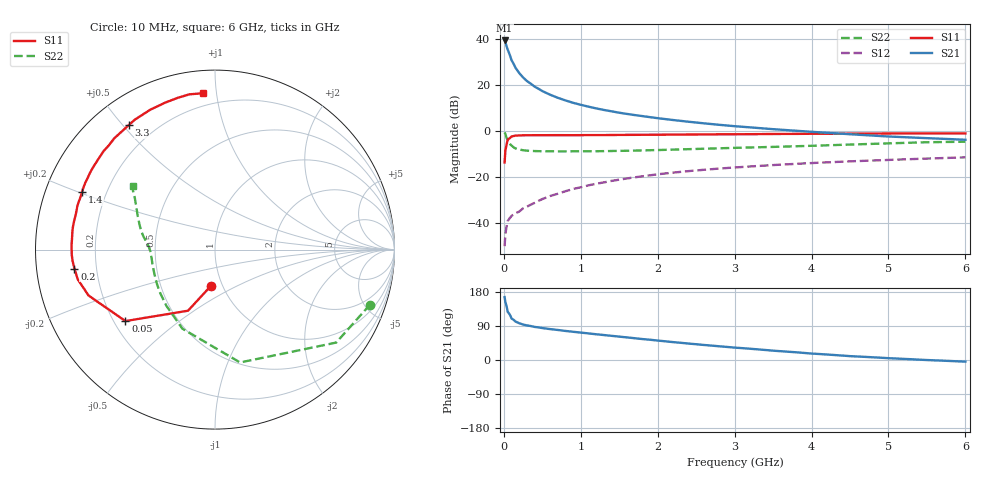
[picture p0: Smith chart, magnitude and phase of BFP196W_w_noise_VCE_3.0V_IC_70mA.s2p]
! Infineon Technologies  Discrete & RF Semiconductors
! BFP196W
! VCE =  3.0 V,  IC =  70 mA
! Common Emitter S-Parameters:  Jan 2017
# GHz  S  MA  R  50
!  f  S11  S21  S12  S22
! GHz  MAG  ANG  MAG  ANG  MAG  ANG  MAG  ANG
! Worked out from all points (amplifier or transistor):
!   77 points, 10 MHz to 6 GHz, reference 50 ohm
!   highest |S21| = 39.2 dB at 10 MHz (marker M1)
!   |S21| within 3 dB of that: start of sweep to 40.21 MHz
!   unconditionally stable (mu >= 1): 549.1 MHz to 3.318 GHz
!   at 130 MHz: K = 0.54, MSG = 32.6 dB, |S12| = -36.3 dB
!   at 2.2 GHz: K = 1.03, MAG = 10.3 dB, |S12| = -18.2 dB
!   at 6 GHz: K = 0.96, MSG = 3.8 dB, |S12| = -11.6 dB
!   lowest NFmin = 1.58 dB at 450 MHz
!   S11 on the Smith chart (normalised r, x): 10 MHz: 0.88, -0.37; 50 MHz: 0.25, -0.33; 200 MHz: 0.12, -0.07; 1.4 GHz: 0.11, +0.20; 3.3 GHz: 0.11, +0.52; 6 GHz: 0.12, +0.92
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0.01  0.2047 -96.7  91.54 166.1  0.0031 82.4  0.917 -19.5
0.02  0.3719 -113.8  83.94 152.7  0.0057 69.2  0.851 -37.5
0.05  0.6385 -141.4  57.91 127.0  0.0109 50.0  0.6441 -77.5
0.1  0.7498 -160.1  34.09 109.4  0.0141 44.0  0.4765 -112.4
0.15  0.7825 -167.8  23.61 101.7  0.0161 46.4  0.4143 -130.8
0.2  0.7902 -172.3  17.9 97.0  0.0175 49.7  0.3902 -141.3
0.25  0.7962 -175.5  14.39 93.6  0.0206 52.0  0.3768 -148.7
0.3  0.7985 -177.9  12.02 91.3  0.0224 55.4  0.3691 -153.7
0.4  0.7997 178.4  9.082 87.3  0.0271 59.3  0.3617 -160.4
0.5  0.799 175.5  7.271 84.3  0.0327 62.1  0.358 -164.7
0.6  0.8008 172.9  6.078 81.6  0.038 63.9  0.3576 -167.8
0.7  0.8016 170.8  5.207 79.3  0.0427 65.0  0.3565 -170.1
0.9  0.7999 166.3  4.046 74.5  0.0542 65.9  0.357 -173.5
1.1  0.8047 162.3  3.335 70.2  0.065 65.5  0.3587 -176.1
1.4  0.8072 156.6  2.641 63.8  0.0812 64.0  0.3625 -179.6
1.7  0.8135 151.0  2.191 57.5  0.0971 62.0  0.3698 177.3
2.1  0.821 143.8  1.79 49.3  0.1179 58.3  0.3842 173.6
3.1  0.8392 127.6  1.218 31.3  0.163 48.5  0.4283 164.8
3.3  0.8437 124.7  1.148 28.1  0.1711 46.7  0.4365 163.0
4.1  0.8592 113.6  0.924 15.8  0.2018 39.6  0.4763 155.3
5.1  0.8716 102.8  0.737 3.9  0.2351 31.3  0.5375 146.6
6  0.8733 94.5  0.637 -4.4  0.2638 24.1  0.577 142.2
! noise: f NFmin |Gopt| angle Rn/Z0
0.45  1.58  0.55  -175  0.06
0.9  1.7  0.58  -169  0.07
1.9  2.54  0.7  -148  0.18
2.4  2.95  0.74  -143  0.3
